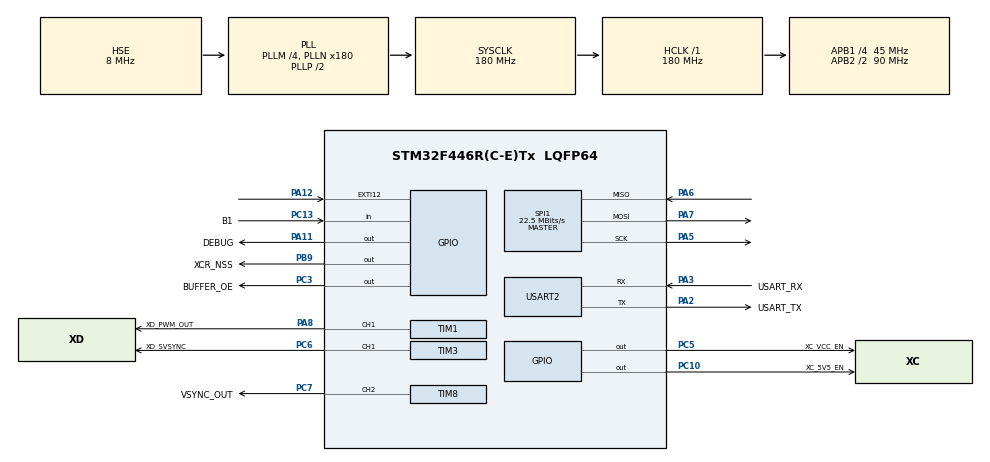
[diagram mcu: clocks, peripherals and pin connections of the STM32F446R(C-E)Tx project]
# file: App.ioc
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Dma.Request0=TIM1_CH1
Dma.Request1=SPI1_TX
Dma.SPI1_TX.1.Direction=DMA_MEMORY_TO_PERIPH
Dma.SPI1_TX.1.FIFOMode=DMA_FIFOMODE_DISABLE
Dma.SPI1_TX.1.Instance=DMA2_Stream3
Dma.SPI1_TX.1.MemDataAlignment=DMA_MDATAALIGN_HALFWORD
Dma.SPI1_TX.1.MemInc=DMA_MINC_ENABLE
Dma.SPI1_TX.1.Mode=DMA_NORMAL
Dma.SPI1_TX.1.PeriphDataAlignment=DMA_PDATAALIGN_HALFWORD
Dma.SPI1_TX.1.PeriphInc=DMA_PINC_DISABLE
Dma.SPI1_TX.1.Priority=DMA_PRIORITY_LOW
Dma.TIM1_CH1.0.Direction=DMA_MEMORY_TO_PERIPH
Dma.TIM1_CH1.0.FIFOMode=DMA_FIFOMODE_DISABLE
Dma.TIM1_CH1.0.Instance=DMA2_Stream1
Dma.TIM1_CH1.0.MemDataAlignment=DMA_MDATAALIGN_HALFWORD
Dma.TIM1_CH1.0.MemInc=DMA_MINC_ENABLE
Dma.TIM1_CH1.0.Mode=DMA_NORMAL
Dma.TIM1_CH1.0.PeriphDataAlignment=DMA_PDATAALIGN_HALFWORD
Dma.TIM1_CH1.0.PeriphInc=DMA_PINC_DISABLE
Dma.TIM1_CH1.0.Priority=DMA_PRIORITY_LOW
Mcu.Family=STM32F4
Mcu.Name=STM32F446R(C-E)Tx
Mcu.Package=LQFP64
NVIC.DMA2_Stream1_IRQn=true\:0\:0\:false\:false\:true\:false\:true\:true
NVIC.DMA2_Stream3_IRQn=true\:0\:0\:false\:false\:true\:false\:true\:true
NVIC.EXTI15_10_IRQn=true\:0\:0\:false\:false\:true\:true\:true\:true
NVIC.PriorityGroup=NVIC_PRIORITYGROUP_4
NVIC.TIM3_IRQn=true\:1\:0\:true\:false\:true\:true\:true\:true
NVIC.TIM8_BRK_TIM12_IRQn=true\:2\:0\:true\:false\:true\:true\:true\:true
NVIC.TIM8_UP_TIM13_IRQn=true\:1\:0\:true\:false\:true\:true\:true\:true
NVIC.USART2_IRQn=true\:3\:0\:true\:false\:true\:true\:true\:true
PA11.GPIO_Label=DEBUG
PA11.Signal=GPIO_Output
PA12.Signal=GPXTI12
PA13.GPIO_Label=TMS
PA13.Mode=Serial_Wire
PA13.Signal=SYS_JTMS-SWDIO
PA14.GPIO_Label=TCK
PA14.Mode=Serial_Wire
PA14.Signal=SYS_JTCK-SWCLK
PA2.GPIO_Label=USART_TX
PA2.GPIO_PuPd=GPIO_PULLUP
PA2.Mode=Asynchronous
PA2.Signal=USART2_TX
PA3.GPIO_Label=USART_RX
PA3.GPIO_PuPd=GPIO_PULLUP
PA3.Mode=Asynchronous
PA3.Signal=USART2_RX
PA5.Mode=Full_Duplex_Master
PA5.Signal=SPI1_SCK
PA6.Mode=Full_Duplex_Master
PA6.Signal=SPI1_MISO
PA7.Mode=Full_Duplex_Master
PA7.Signal=SPI1_MOSI
PA8.GPIO_Label=XD_PWM_OUT
PA8.GPIO_Speed=GPIO_SPEED_FREQ_VERY_HIGH
PA8.Signal=S_TIM1_CH1
PB9.GPIO_Label=XCR_NSS
PB9.Signal=GPIO_Output
PC10.GPIO_Label=XC_5V5_EN
PC10.Signal=GPIO_Output
PC13.GPIO_Label=B1
PC13.GPIO_PuPd=GPIO_PULLUP
PC13.Signal=GPIO_Input
PC14-OSC32_IN.Mode=LSE-External-Oscillator
PC14-OSC32_IN.Signal=RCC_OSC32_IN
PC15-OSC32_OUT.Mode=LSE-External-Oscillator
PC15-OSC32_OUT.Signal=RCC_OSC32_OUT
PC3.GPIO_Label=BUFFER_OE
PC3.PinState=GPIO_PIN_SET
PC3.Signal=GPIO_Output
PC5.GPIO_Label=XC_VCC_EN
PC5.PinState=GPIO_PIN_SET
PC5.Signal=GPIO_Output
PC6.GPIO_Label=XD_SVSYNC
PC6.Signal=S_TIM3_CH1
PC7.GPIO_Label=VSYNC_OUT
PC7.Signal=S_TIM8_CH2
PH0-OSC_IN.Mode=HSE-External-Oscillator
PH0-OSC_IN.Signal=RCC_OSC_IN
PH1-OSC_OUT.Mode=HSE-External-Oscillator
PH1-OSC_OUT.Signal=RCC_OSC_OUT
ProjectManager.HeapSize=0x280
ProjectManager.StackSize=0x800
ProjectManager.TargetToolchain=EWARM V8.50
RCC.48MHZClocksFreq_Value=84000000
RCC.AHBFreq_Value=180000000
RCC.APB1CLKDivider=RCC_HCLK_DIV4
RCC.APB1Freq_Value=45000000
RCC.APB1TimFreq_Value=90000000
RCC.APB2CLKDivider=RCC_HCLK_DIV2
RCC.APB2Freq_Value=90000000
RCC.APB2TimFreq_Value=180000000
RCC.CortexFreq_Value=180000000
RCC.FLatency-AdvancedSettings=FLASH_LATENCY_5
RCC.HCLKFreq_Value=180000000
RCC.HSE_VALUE=8000000
RCC.HSI_VALUE=16000000
RCC.PLLI2SM=8
RCC.PLLI2SN=420
RCC.PLLI2SR=4
RCC.PLLM=4
RCC.PLLN=180
RCC.PLLSourceVirtual=RCC_PLLSOURCE_HSE
RCC.RCC_MCO2Source=RCC_MCO2SOURCE_PLLI2SCLK
RCC.RCC_MCODiv2=RCC_MCODIV_3
RCC.SYSCLKFreq_VALUE=180000000
RCC.SYSCLKSource=RCC_SYSCLKSOURCE_PLLCLK
RCC.USBFreq_Value=180000000
RCC.VCOOutputFreq_Value=360000000
SH.S_TIM1_CH1.0=TIM1_CH1,PWM Generation1 CH1
SH.S_TIM3_CH1.0=TIM3_CH1,PWM Generation1 CH1
SH.S_TIM8_CH2.0=TIM8_CH2,PWM Generation2 CH2
SPI1.BaudRatePrescaler=SPI_BAUDRATEPRESCALER_4
SPI1.CLKPhase=SPI_PHASE_2EDGE
SPI1.CalculateBaudRate=22.5 MBits/s
SPI1.DataSize=SPI_DATASIZE_16BIT
SPI1.Direction=SPI_DIRECTION_2LINES
SPI1.Mode=SPI_MODE_MASTER
SPI1.VirtualType=VM_MASTER
TIM1.AutomaticOutput=TIM_AUTOMATICOUTPUT_ENABLE
TIM1.Channel-PWM\ Generation1\ CH1=TIM_CHANNEL_1
TIM1.Period=179
TIM12.Prescaler=89
TIM3.Channel-PWM\ Generation1\ CH1=TIM_CHANNEL_1
TIM3.OC1Preload_PWM=DISABLE
TIM3.Period=719
TIM4.Period=59999
TIM4.Prescaler=14
TIM8.AutoReloadPreload=TIM_AUTORELOAD_PRELOAD_ENABLE
TIM8.AutomaticOutput=TIM_AUTOMATICOUTPUT_ENABLE
TIM8.Channel-PWM\ Generation2\ CH2=TIM_CHANNEL_2
TIM8.Period=49999
TIM8.Prescaler=29
TIM8.TIM_MasterOutputTrigger=TIM_TRGO_UPDATE
TIM8.TIM_MasterSlaveMode=TIM_MASTERSLAVEMODE_ENABLE
USART2.VirtualMode=VM_ASYNC
VP_TIM12_VS_ClockSourceINT.Mode=Internal
VP_TIM1_VS_ClockSourceINT.Mode=Internal
VP_TIM2_VS_ClockSourceINT.Mode=Internal
VP_TIM3_VS_ClockSourceINT.Mode=Internal
VP_TIM4_VS_ClockSourceITR.Mode=TriggerSource_ITR3
VP_TIM5_VS_ClockSourceINT.Mode=Internal
VP_TIM8_VS_ClockSourceINT.Mode=Internal
board=NUCLEO-F446RE

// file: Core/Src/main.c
/* USER CODE BEGIN Header */
/**
  ******************************************************************************
  * @file           : main.c
  * @brief          : Main program body
  ******************************************************************************
  * @attention
  *
  * Copyright (c) 2026 STMicroelectronics.
  * All rights reserved.
  *
  * This software is licensed under terms that can be found in the LICENSE file
  * in the root directory of this software component.
  * If no LICENSE file comes with this software, it is provided AS-IS.
  *
  ******************************************************************************
  */
/* USER CODE END Header */
#include "main.h"

/* USER CODE BEGIN Includes */
#include <stdbool.h>
#include <string.h>

#include "drv_comm.h"
#include "drv_gpio.h"
#include "drv_xcr24.h"
#include "drv_xdr12.h"
#include "drv_timer.h"

#include "framework.h"
#include "comm_debugging.h"
#include "ldim_conversion.h"
/* USER CODE END Includes */

void SystemClock_Config(void);
static void MX_GPIO_Init(void);
static void MX_DMA_Init(void);
static void MX_USART2_UART_Init(void);
static void MX_TIM12_Init(void);
static void MX_TIM8_Init(void);
static void MX_TIM4_Init(void);
static void MX_TIM1_Init(void);
static void MX_TIM2_Init(void);
static void MX_TIM3_Init(void);
static void MX_TIM5_Init(void);
static void MX_SPI1_Init(void);
/* USER CODE BEGIN PFP */

extern void fw_run(void);

/* USER CODE END PFP */

/* USER CODE BEGIN 0 */
void sys_init(void)
{
    /* XD PWM_OUT */
    /* Set the Prescaler value */
    LL_TIM_SetPrescaler(TIM1, (uint32_t)TIM1_PRESCALER);
    /* Set the Autoreload value */
    LL_TIM_SetAutoReload(TIM1, (uint32_t)TIM1_PERIOD);

    XCR_NSS_LO();

    xcr24_init_param();
    xdr12_init_param();

    LL_TIM_DisableARRPreload(TIM3);
    LL_TIM_OC_DisablePreload(TIM3, LL_TIM_CHANNEL_CH1);

    LL_TIM_ClearFlag_UPDATE(TIM3);
    LL_TIM_ClearFlag_UPDATE(TIM8);
    LL_TIM_ClearFlag_UPDATE(TIM12);

    __enable_irq();

    comm_init();
    ldim_block_map_init();
    ldim_block_map_print();

    LL_mDelay(999U);
    gpio_set_xc_vdd_5v(VCC_ON_3V3);
    LL_mDelay(99U);
    xcr24_init();

    LL_mDelay(99U);
    xdr12_init();
    LL_mDelay(9U);

    ldim_set_block_color_buffer(LDIM_BLK_INDEX_ALL, 100U, 100U, 100U);
    tim_vsync_out_start();
}

void sys_normal_mode(void)
{
}

void _system_idle(void)
{
    tim_vsync_out_process();
    comm_debugging_process();
}

/* USER CODE END 0 */

int main(void)
{

  __disable_irq();

  /* MCU Configuration--------------------------------------------------------*/

  /* Reset of all peripherals, Initializes the Flash interface and the Systick. */
  HAL_Init();

  /* Configure the system clock */
  SystemClock_Config();

  /* Initialize all configured peripherals */
  MX_GPIO_Init();
  MX_DMA_Init();
  MX_USART2_UART_Init();
  MX_TIM12_Init();
  MX_TIM8_Init();
  MX_TIM4_Init();
  MX_TIM1_Init();
  MX_TIM2_Init();
  MX_TIM3_Init();
  MX_TIM5_Init();
  MX_SPI1_Init();
  /* USER CODE BEGIN 2 */

    fw_run();

  /* USER CODE END 2 */

  /* Infinite loop */
  /* USER CODE BEGIN WHILE */
  while (1)
  {
        //blu_process();

    /* USER CODE END WHILE */

  }
}

void SystemClock_Config(void)
{
  RCC_OscInitTypeDef RCC_OscInitStruct = {0};
  RCC_ClkInitTypeDef RCC_ClkInitStruct = {0};

  /** Configure the main internal regulator output voltage
  */
  __HAL_RCC_PWR_CLK_ENABLE();
  __HAL_PWR_VOLTAGESCALING_CONFIG(PWR_REGULATOR_VOLTAGE_SCALE1);

  /** Initializes the RCC Oscillators according to the specified parameters
  * in the RCC_OscInitTypeDef structure.
  */
  RCC_OscInitStruct.OscillatorType = RCC_OSCILLATORTYPE_HSE;
  RCC_OscInitStruct.HSEState = RCC_HSE_ON;
  RCC_OscInitStruct.PLL.PLLState = RCC_PLL_ON;
  RCC_OscInitStruct.PLL.PLLSource = RCC_PLLSOURCE_HSE;
  RCC_OscInitStruct.PLL.PLLM = 4;
  RCC_OscInitStruct.PLL.PLLN = 180;
  RCC_OscInitStruct.PLL.PLLP = RCC_PLLP_DIV2;
  RCC_OscInitStruct.PLL.PLLQ = 2;
  RCC_OscInitStruct.PLL.PLLR = 2;
  if (HAL_RCC_OscConfig(&RCC_OscInitStruct) != HAL_OK)
  {
    Error_Handler();
  }

  /** Activate the Over-Drive mode
  */
  if (HAL_PWREx_EnableOverDrive() != HAL_OK)
  {
    Error_Handler();
  }

  /** Initializes the CPU, AHB and APB buses clocks
  */
  RCC_ClkInitStruct.ClockType = RCC_CLOCKTYPE_HCLK|RCC_CLOCKTYPE_SYSCLK
                              |RCC_CLOCKTYPE_PCLK1|RCC_CLOCKTYPE_PCLK2;
  RCC_ClkInitStruct.SYSCLKSource = RCC_SYSCLKSOURCE_PLLCLK;
  RCC_ClkInitStruct.AHBCLKDivider = RCC_SYSCLK_DIV1;
  RCC_ClkInitStruct.APB1CLKDivider = RCC_HCLK_DIV4;
  RCC_ClkInitStruct.APB2CLKDivider = RCC_HCLK_DIV2;

  if (HAL_RCC_ClockConfig(&RCC_ClkInitStruct, FLASH_LATENCY_5) != HAL_OK)
  {
    Error_Handler();
  }
}

static void MX_SPI1_Init(void)
{

  LL_SPI_InitTypeDef SPI_InitStruct = {0};

  LL_GPIO_InitTypeDef GPIO_InitStruct = {0};

  /* Peripheral clock enable */
  LL_APB2_GRP1_EnableClock(LL_APB2_GRP1_PERIPH_SPI1);

  LL_AHB1_GRP1_EnableClock(LL_AHB1_GRP1_PERIPH_GPIOA);
  /**SPI1 GPIO Configuration
  PA5   ------> SPI1_SCK
  PA6   ------> SPI1_MISO
  PA7   ------> SPI1_MOSI
  */
  GPIO_InitStruct.Pin = LL_GPIO_PIN_5|LL_GPIO_PIN_6|LL_GPIO_PIN_7;
  GPIO_InitStruct.Mode = LL_GPIO_MODE_ALTERNATE;
  GPIO_InitStruct.Speed = LL_GPIO_SPEED_FREQ_VERY_HIGH;
  GPIO_InitStruct.OutputType = LL_GPIO_OUTPUT_PUSHPULL;
  GPIO_InitStruct.Pull = LL_GPIO_PULL_NO;
  GPIO_InitStruct.Alternate = LL_GPIO_AF_5;
  LL_GPIO_Init(GPIOA, &GPIO_InitStruct);

  /* SPI1 DMA Init */

  /* SPI1_TX Init */
  LL_DMA_SetChannelSelection(DMA2, LL_DMA_STREAM_3, LL_DMA_CHANNEL_3);

  LL_DMA_SetDataTransferDirection(DMA2, LL_DMA_STREAM_3, LL_DMA_DIRECTION_MEMORY_TO_PERIPH);

  LL_DMA_SetStreamPriorityLevel(DMA2, LL_DMA_STREAM_3, LL_DMA_PRIORITY_LOW);

  LL_DMA_SetMode(DMA2, LL_DMA_STREAM_3, LL_DMA_MODE_NORMAL);

  LL_DMA_SetPeriphIncMode(DMA2, LL_DMA_STREAM_3, LL_DMA_PERIPH_NOINCREMENT);

  LL_DMA_SetMemoryIncMode(DMA2, LL_DMA_STREAM_3, LL_DMA_MEMORY_INCREMENT);

  LL_DMA_SetPeriphSize(DMA2, LL_DMA_STREAM_3, LL_DMA_PDATAALIGN_HALFWORD);

  LL_DMA_SetMemorySize(DMA2, LL_DMA_STREAM_3, LL_DMA_MDATAALIGN_HALFWORD);

  LL_DMA_DisableFifoMode(DMA2, LL_DMA_STREAM_3);

  /* USER CODE BEGIN SPI1_Init 1 */

    LL_DMA_SetPeriphAddress(DMA2, LL_DMA_STREAM_3, (uint32_t)(&(SPI1->DR)));
    LL_DMA_EnableIT_TC(DMA2, LL_DMA_STREAM_3);

  /* USER CODE END SPI1_Init 1 */
  /* SPI1 parameter configuration*/
  SPI_InitStruct.TransferDirection = LL_SPI_FULL_DUPLEX;
  SPI_InitStruct.Mode = LL_SPI_MODE_MASTER;
  SPI_InitStruct.DataWidth = LL_SPI_DATAWIDTH_16BIT;
  SPI_InitStruct.ClockPolarity = LL_SPI_POLARITY_LOW;
  SPI_InitStruct.ClockPhase = LL_SPI_PHASE_2EDGE;
  SPI_InitStruct.NSS = LL_SPI_NSS_SOFT;
  SPI_InitStruct.BaudRate = LL_SPI_BAUDRATEPRESCALER_DIV4;
  SPI_InitStruct.BitOrder = LL_SPI_MSB_FIRST;
  SPI_InitStruct.CRCCalculation = LL_SPI_CRCCALCULATION_DISABLE;
  SPI_InitStruct.CRCPoly = 10;
  LL_SPI_Init(SPI1, &SPI_InitStruct);
  LL_SPI_SetStandard(SPI1, LL_SPI_PROTOCOL_MOTOROLA);
  /* USER CODE BEGIN SPI1_Init 2 */

    LL_SPI_EnableDMAReq_TX(SPI1);
    LL_SPI_Enable(SPI1);

  /* USER CODE END SPI1_Init 2 */

}

static void MX_TIM1_Init(void)
{

  LL_TIM_InitTypeDef TIM_InitStruct = {0};
  LL_TIM_OC_InitTypeDef TIM_OC_InitStruct = {0};
  LL_TIM_BDTR_InitTypeDef TIM_BDTRInitStruct = {0};

  LL_GPIO_InitTypeDef GPIO_InitStruct = {0};

  /* Peripheral clock enable */
  LL_APB2_GRP1_EnableClock(LL_APB2_GRP1_PERIPH_TIM1);

  /* TIM1 DMA Init */

  /* TIM1_CH1 Init */
  LL_DMA_SetChannelSelection(DMA2, LL_DMA_STREAM_1, LL_DMA_CHANNEL_6);

  LL_DMA_SetDataTransferDirection(DMA2, LL_DMA_STREAM_1, LL_DMA_DIRECTION_MEMORY_TO_PERIPH);

  LL_DMA_SetStreamPriorityLevel(DMA2, LL_DMA_STREAM_1, LL_DMA_PRIORITY_LOW);

  LL_DMA_SetMode(DMA2, LL_DMA_STREAM_1, LL_DMA_MODE_NORMAL);

  LL_DMA_SetPeriphIncMode(DMA2, LL_DMA_STREAM_1, LL_DMA_PERIPH_NOINCREMENT);

  LL_DMA_SetMemoryIncMode(DMA2, LL_DMA_STREAM_1, LL_DMA_MEMORY_INCREMENT);

  LL_DMA_SetPeriphSize(DMA2, LL_DMA_STREAM_1, LL_DMA_PDATAALIGN_HALFWORD);

  LL_DMA_SetMemorySize(DMA2, LL_DMA_STREAM_1, LL_DMA_MDATAALIGN_HALFWORD);

  LL_DMA_DisableFifoMode(DMA2, LL_DMA_STREAM_1);

  /* USER CODE BEGIN TIM1_Init 1 */

    LL_DMA_SetPeriphAddress(DMA2, LL_DMA_STREAM_1, (uint32_t)(&(TIM1->CCR1)));
    LL_DMA_EnableIT_TC(DMA2, LL_DMA_STREAM_1);

  /* USER CODE END TIM1_Init 1 */
  TIM_InitStruct.Prescaler = 0;
  TIM_InitStruct.CounterMode = LL_TIM_COUNTERMODE_UP;
  TIM_InitStruct.Autoreload = 179;
  TIM_InitStruct.ClockDivision = LL_TIM_CLOCKDIVISION_DIV1;
  TIM_InitStruct.RepetitionCounter = 0;
  LL_TIM_Init(TIM1, &TIM_InitStruct);
  LL_TIM_DisableARRPreload(TIM1);
  LL_TIM_SetClockSource(TIM1, LL_TIM_CLOCKSOURCE_INTERNAL);
  LL_TIM_OC_EnablePreload(TIM1, LL_TIM_CHANNEL_CH1);
  TIM_OC_InitStruct.OCMode = LL_TIM_OCMODE_PWM1;
  TIM_OC_InitStruct.OCState = LL_TIM_OCSTATE_DISABLE;
  TIM_OC_InitStruct.OCNState = LL_TIM_OCSTATE_DISABLE;
  TIM_OC_InitStruct.CompareValue = 0;
  TIM_OC_InitStruct.OCPolarity = LL_TIM_OCPOLARITY_HIGH;
  TIM_OC_InitStruct.OCNPolarity = LL_TIM_OCPOLARITY_HIGH;
  TIM_OC_InitStruct.OCIdleState = LL_TIM_OCIDLESTATE_LOW;
  TIM_OC_InitStruct.OCNIdleState = LL_TIM_OCIDLESTATE_LOW;
  LL_TIM_OC_Init(TIM1, LL_TIM_CHANNEL_CH1, &TIM_OC_InitStruct);
  LL_TIM_OC_DisableFast(TIM1, LL_TIM_CHANNEL_CH1);
  LL_TIM_SetTriggerOutput(TIM1, LL_TIM_TRGO_RESET);
  LL_TIM_DisableMasterSlaveMode(TIM1);
  TIM_BDTRInitStruct.OSSRState = LL_TIM_OSSR_DISABLE;
  TIM_BDTRInitStruct.OSSIState = LL_TIM_OSSI_DISABLE;
  TIM_BDTRInitStruct.LockLevel = LL_TIM_LOCKLEVEL_OFF;
  TIM_BDTRInitStruct.DeadTime = 0;
  TIM_BDTRInitStruct.BreakState = LL_TIM_BREAK_DISABLE;
  TIM_BDTRInitStruct.BreakPolarity = LL_TIM_BREAK_POLARITY_HIGH;
  TIM_BDTRInitStruct.AutomaticOutput = LL_TIM_AUTOMATICOUTPUT_ENABLE;
  LL_TIM_BDTR_Init(TIM1, &TIM_BDTRInitStruct);
  /* USER CODE BEGIN TIM1_Init 2 */

  LL_TIM_CC_EnableChannel(TIM1, LL_TIM_CHANNEL_CH1);
  LL_TIM_EnableDMAReq_CC1(TIM1);

  /* USER CODE END TIM1_Init 2 */
  LL_AHB1_GRP1_EnableClock(LL_AHB1_GRP1_PERIPH_GPIOA);
  /**TIM1 GPIO Configuration
  PA8   ------> TIM1_CH1
  */
  GPIO_InitStruct.Pin = XD_PWM_OUT_Pin;
  GPIO_InitStruct.Mode = LL_GPIO_MODE_ALTERNATE;
  GPIO_InitStruct.Speed = LL_GPIO_SPEED_FREQ_VERY_HIGH;
  GPIO_InitStruct.OutputType = LL_GPIO_OUTPUT_PUSHPULL;
  GPIO_InitStruct.Pull = LL_GPIO_PULL_NO;
  GPIO_InitStruct.Alternate = LL_GPIO_AF_1;
  LL_GPIO_Init(XD_PWM_OUT_GPIO_Port, &GPIO_InitStruct);

}

static void MX_TIM2_Init(void)
{

  LL_TIM_InitTypeDef TIM_InitStruct = {0};

  /* Peripheral clock enable */
  LL_APB1_GRP1_EnableClock(LL_APB1_GRP1_PERIPH_TIM2);

  /* USER CODE BEGIN TIM2_Init 1 */
    LL_DMA_SetChannelSelection(DMA1, LL_DMA_STREAM_5, LL_DMA_CHANNEL_3);
    LL_DMA_SetDataTransferDirection(DMA1, LL_DMA_STREAM_5, LL_DMA_DIRECTION_PERIPH_TO_MEMORY);
    LL_DMA_SetStreamPriorityLevel(DMA1, LL_DMA_STREAM_5, LL_DMA_PRIORITY_LOW);
    LL_DMA_SetMode(DMA1, LL_DMA_STREAM_5, LL_DMA_MODE_NORMAL);
    LL_DMA_SetPeriphIncMode(DMA1, LL_DMA_STREAM_5, LL_DMA_PERIPH_NOINCREMENT);
    LL_DMA_SetMemoryIncMode(DMA1, LL_DMA_STREAM_5, LL_DMA_MEMORY_INCREMENT);
    LL_DMA_SetPeriphSize(DMA1, LL_DMA_STREAM_5, LL_DMA_PDATAALIGN_HALFWORD);
    LL_DMA_SetMemorySize(DMA1, LL_DMA_STREAM_5, LL_DMA_MDATAALIGN_HALFWORD);
    LL_DMA_DisableFifoMode(DMA1, LL_DMA_STREAM_5);

    LL_DMA_SetPeriphAddress(DMA1, LL_DMA_STREAM_5, (uint32_t)(&(TIM2->CCR1)));   /* falling edge - pwm duty */
    LL_DMA_SetPeriphAddress(DMA1, LL_DMA_STREAM_6, (uint32_t)(&(TIM2->CCR2)));   /* rising edge - pwm frequency */

  /* USER CODE END TIM2_Init 1 */
  TIM_InitStruct.Prescaler = 0;
  TIM_InitStruct.CounterMode = LL_TIM_COUNTERMODE_UP;
  TIM_InitStruct.Autoreload = 4294967295;
  TIM_InitStruct.ClockDivision = LL_TIM_CLOCKDIVISION_DIV1;
  LL_TIM_Init(TIM2, &TIM_InitStruct);
  LL_TIM_DisableARRPreload(TIM2);
  LL_TIM_SetClockSource(TIM2, LL_TIM_CLOCKSOURCE_INTERNAL);
  LL_TIM_SetTriggerOutput(TIM2, LL_TIM_TRGO_RESET);
  LL_TIM_DisableMasterSlaveMode(TIM2);
  /* USER CODE BEGIN TIM2_Init 2 */

    LL_TIM_EnableDMAReq_CC1(TIM2);
    LL_TIM_EnableDMAReq_CC2(TIM2);

    LL_DMA_EnableIT_TC(DMA1, LL_DMA_STREAM_5);
    LL_DMA_EnableIT_TC(DMA1, LL_DMA_STREAM_6);

    /* DMA1_Stream5_IRQn interrupt configuration */
    NVIC_SetPriority(DMA1_Stream5_IRQn, NVIC_EncodePriority(NVIC_GetPriorityGrouping(),1, 0));
    NVIC_EnableIRQ(DMA1_Stream5_IRQn);

  /* USER CODE END TIM2_Init 2 */

}

static void MX_TIM3_Init(void)
{

  LL_TIM_InitTypeDef TIM_InitStruct = {0};
  LL_TIM_OC_InitTypeDef TIM_OC_InitStruct = {0};

  LL_GPIO_InitTypeDef GPIO_InitStruct = {0};

  /* Peripheral clock enable */
  LL_APB1_GRP1_EnableClock(LL_APB1_GRP1_PERIPH_TIM3);

  /* TIM3 interrupt Init */
  NVIC_SetPriority(TIM3_IRQn, NVIC_EncodePriority(NVIC_GetPriorityGrouping(),1, 0));
  NVIC_EnableIRQ(TIM3_IRQn);

  TIM_InitStruct.Prescaler = 0;
  TIM_InitStruct.CounterMode = LL_TIM_COUNTERMODE_UP;
  TIM_InitStruct.Autoreload = 719;
  TIM_InitStruct.ClockDivision = LL_TIM_CLOCKDIVISION_DIV1;
  LL_TIM_Init(TIM3, &TIM_InitStruct);
  LL_TIM_DisableARRPreload(TIM3);
  LL_TIM_SetClockSource(TIM3, LL_TIM_CLOCKSOURCE_INTERNAL);
  LL_TIM_OC_EnablePreload(TIM3, LL_TIM_CHANNEL_CH1);
  TIM_OC_InitStruct.OCMode = LL_TIM_OCMODE_PWM1;
  TIM_OC_InitStruct.OCState = LL_TIM_OCSTATE_DISABLE;
  TIM_OC_InitStruct.OCNState = LL_TIM_OCSTATE_DISABLE;
  TIM_OC_InitStruct.CompareValue = 0;
  TIM_OC_InitStruct.OCPolarity = LL_TIM_OCPOLARITY_HIGH;
  LL_TIM_OC_Init(TIM3, LL_TIM_CHANNEL_CH1, &TIM_OC_InitStruct);
  LL_TIM_OC_DisableFast(TIM3, LL_TIM_CHANNEL_CH1);
  LL_TIM_SetTriggerOutput(TIM3, LL_TIM_TRGO_RESET);
  LL_TIM_DisableMasterSlaveMode(TIM3);
  LL_TIM_OC_DisablePreload(TIM3, LL_TIM_CHANNEL_CH1);
  /* USER CODE BEGIN TIM3_Init 2 */

    LL_TIM_CC_EnableChannel(TIM3, LL_TIM_CHANNEL_CH1);
    LL_TIM_EnableIT_UPDATE(TIM3);

  /* USER CODE END TIM3_Init 2 */
  LL_AHB1_GRP1_EnableClock(LL_AHB1_GRP1_PERIPH_GPIOC);
  /**TIM3 GPIO Configuration
  PC6   ------> TIM3_CH1
  */
  GPIO_InitStruct.Pin = XD_SVSYNC_Pin;
  GPIO_InitStruct.Mode = LL_GPIO_MODE_ALTERNATE;
  GPIO_InitStruct.Speed = LL_GPIO_SPEED_FREQ_LOW;
  GPIO_InitStruct.OutputType = LL_GPIO_OUTPUT_PUSHPULL;
  GPIO_InitStruct.Pull = LL_GPIO_PULL_NO;
  GPIO_InitStruct.Alternate = LL_GPIO_AF_2;
  LL_GPIO_Init(XD_SVSYNC_GPIO_Port, &GPIO_InitStruct);

}

static void MX_TIM4_Init(void)
{

  LL_TIM_InitTypeDef TIM_InitStruct = {0};

  /* Peripheral clock enable */
  LL_APB1_GRP1_EnableClock(LL_APB1_GRP1_PERIPH_TIM4);

  TIM_InitStruct.Prescaler = 14;
  TIM_InitStruct.CounterMode = LL_TIM_COUNTERMODE_UP;
  TIM_InitStruct.Autoreload = 59999;
  TIM_InitStruct.ClockDivision = LL_TIM_CLOCKDIVISION_DIV1;
  LL_TIM_Init(TIM4, &TIM_InitStruct);
  LL_TIM_DisableARRPreload(TIM4);
  LL_TIM_SetTriggerInput(TIM4, LL_TIM_TS_ITR3);
  LL_TIM_SetSlaveMode(TIM4, LL_TIM_SLAVEMODE_DISABLED);
  LL_TIM_DisableIT_TRIG(TIM4);
  LL_TIM_DisableDMAReq_TRIG(TIM4);
  LL_TIM_SetTriggerOutput(TIM4, LL_TIM_TRGO_RESET);
  LL_TIM_DisableMasterSlaveMode(TIM4);

}

static void MX_TIM5_Init(void)
{

  LL_TIM_InitTypeDef TIM_InitStruct = {0};

  /* Peripheral clock enable */
  LL_APB1_GRP1_EnableClock(LL_APB1_GRP1_PERIPH_TIM5);

  TIM_InitStruct.Prescaler = 0;
  TIM_InitStruct.CounterMode = LL_TIM_COUNTERMODE_UP;
  TIM_InitStruct.Autoreload = 4294967295;
  TIM_InitStruct.ClockDivision = LL_TIM_CLOCKDIVISION_DIV1;
  LL_TIM_Init(TIM5, &TIM_InitStruct);
  LL_TIM_DisableARRPreload(TIM5);
  LL_TIM_SetClockSource(TIM5, LL_TIM_CLOCKSOURCE_INTERNAL);
  LL_TIM_SetTriggerOutput(TIM5, LL_TIM_TRGO_RESET);
  LL_TIM_DisableMasterSlaveMode(TIM5);
  /* USER CODE BEGIN TIM5_Init 2 */

    LL_TIM_EnableDMAReq_CC1(TIM5);
    LL_TIM_CC_EnableChannel(TIM5, LL_TIM_CHANNEL_CH1);

    LL_DMA_EnableIT_TC(DMA1, LL_DMA_STREAM_2);
    //LL_DMA_EnableIT_TE(DMA1, LL_DMA_STREAM_2);
  /* USER CODE END TIM5_Init 2 */

}

static void MX_TIM8_Init(void)
{

  LL_TIM_InitTypeDef TIM_InitStruct = {0};
  LL_TIM_OC_InitTypeDef TIM_OC_InitStruct = {0};
  LL_TIM_BDTR_InitTypeDef TIM_BDTRInitStruct = {0};

  LL_GPIO_InitTypeDef GPIO_InitStruct = {0};

  /* Peripheral clock enable */
  LL_APB2_GRP1_EnableClock(LL_APB2_GRP1_PERIPH_TIM8);

  /* TIM8 interrupt Init */
  NVIC_SetPriority(TIM8_BRK_TIM12_IRQn, NVIC_EncodePriority(NVIC_GetPriorityGrouping(),2, 0));
  NVIC_EnableIRQ(TIM8_BRK_TIM12_IRQn);
  NVIC_SetPriority(TIM8_UP_TIM13_IRQn, NVIC_EncodePriority(NVIC_GetPriorityGrouping(),1, 0));
  NVIC_EnableIRQ(TIM8_UP_TIM13_IRQn);

  TIM_InitStruct.Prescaler = 29;
  TIM_InitStruct.CounterMode = LL_TIM_COUNTERMODE_UP;
  TIM_InitStruct.Autoreload = 49999;
  TIM_InitStruct.ClockDivision = LL_TIM_CLOCKDIVISION_DIV1;
  TIM_InitStruct.RepetitionCounter = 0;
  LL_TIM_Init(TIM8, &TIM_InitStruct);
  LL_TIM_EnableARRPreload(TIM8);
  LL_TIM_SetClockSource(TIM8, LL_TIM_CLOCKSOURCE_INTERNAL);
  LL_TIM_OC_EnablePreload(TIM8, LL_TIM_CHANNEL_CH2);
  TIM_OC_InitStruct.OCMode = LL_TIM_OCMODE_PWM1;
  TIM_OC_InitStruct.OCState = LL_TIM_OCSTATE_DISABLE;
  TIM_OC_InitStruct.OCNState = LL_TIM_OCSTATE_DISABLE;
  TIM_OC_InitStruct.CompareValue = 0;
  TIM_OC_InitStruct.OCPolarity = LL_TIM_OCPOLARITY_HIGH;
  TIM_OC_InitStruct.OCNPolarity = LL_TIM_OCPOLARITY_HIGH;
  TIM_OC_InitStruct.OCIdleState = LL_TIM_OCIDLESTATE_LOW;
  TIM_OC_InitStruct.OCNIdleState = LL_TIM_OCIDLESTATE_LOW;
  LL_TIM_OC_Init(TIM8, LL_TIM_CHANNEL_CH2, &TIM_OC_InitStruct);
  LL_TIM_OC_DisableFast(TIM8, LL_TIM_CHANNEL_CH2);
  LL_TIM_SetTriggerOutput(TIM8, LL_TIM_TRGO_UPDATE);
  LL_TIM_EnableMasterSlaveMode(TIM8);
  TIM_BDTRInitStruct.OSSRState = LL_TIM_OSSR_DISABLE;
  TIM_BDTRInitStruct.OSSIState = LL_TIM_OSSI_DISABLE;
  TIM_BDTRInitStruct.LockLevel = LL_TIM_LOCKLEVEL_OFF;
  TIM_BDTRInitStruct.DeadTime = 0;
  TIM_BDTRInitStruct.BreakState = LL_TIM_BREAK_DISABLE;
  TIM_BDTRInitStruct.BreakPolarity = LL_TIM_BREAK_POLARITY_HIGH;
  TIM_BDTRInitStruct.AutomaticOutput = LL_TIM_AUTOMATICOUTPUT_ENABLE;
  LL_TIM_BDTR_Init(TIM8, &TIM_BDTRInitStruct);
  /* USER CODE BEGIN TIM8_Init 2 */

    LL_TIM_CC_EnableChannel(TIM8, LL_TIM_CHANNEL_CH2);
    LL_TIM_EnableIT_UPDATE(TIM8);

  /* USER CODE END TIM8_Init 2 */
  LL_AHB1_GRP1_EnableClock(LL_AHB1_GRP1_PERIPH_GPIOC);
  /**TIM8 GPIO Configuration
  PC7   ------> TIM8_CH2
  */
  GPIO_InitStruct.Pin = VSYNC_OUT_Pin;
  GPIO_InitStruct.Mode = LL_GPIO_MODE_ALTERNATE;
  GPIO_InitStruct.Speed = LL_GPIO_SPEED_FREQ_LOW;
  GPIO_InitStruct.OutputType = LL_GPIO_OUTPUT_PUSHPULL;
  GPIO_InitStruct.Pull = LL_GPIO_PULL_NO;
  GPIO_InitStruct.Alternate = LL_GPIO_AF_3;
  LL_GPIO_Init(VSYNC_OUT_GPIO_Port, &GPIO_InitStruct);

}

static void MX_TIM12_Init(void)
{

  LL_TIM_InitTypeDef TIM_InitStruct = {0};

  /* Peripheral clock enable */
  LL_APB1_GRP1_EnableClock(LL_APB1_GRP1_PERIPH_TIM12);

  /* TIM12 interrupt Init */
  NVIC_SetPriority(TIM8_BRK_TIM12_IRQn, NVIC_EncodePriority(NVIC_GetPriorityGrouping(),2, 0));
  NVIC_EnableIRQ(TIM8_BRK_TIM12_IRQn);

  TIM_InitStruct.Prescaler = 89;
  TIM_InitStruct.CounterMode = LL_TIM_COUNTERMODE_UP;
  TIM_InitStruct.Autoreload = 65535;
  TIM_InitStruct.ClockDivision = LL_TIM_CLOCKDIVISION_DIV1;
  LL_TIM_Init(TIM12, &TIM_InitStruct);
  LL_TIM_DisableARRPreload(TIM12);
  LL_TIM_SetClockSource(TIM12, LL_TIM_CLOCKSOURCE_INTERNAL);

}

static void MX_USART2_UART_Init(void)
{

  LL_USART_InitTypeDef USART_InitStruct = {0};

  LL_GPIO_InitTypeDef GPIO_InitStruct = {0};

  /* Peripheral clock enable */
  LL_APB1_GRP1_EnableClock(LL_APB1_GRP1_PERIPH_USART2);

  LL_AHB1_GRP1_EnableClock(LL_AHB1_GRP1_PERIPH_GPIOA);
  /**USART2 GPIO Configuration
  PA2   ------> USART2_TX
  PA3   ------> USART2_RX
  */
  GPIO_InitStruct.Pin = USART_TX_Pin|USART_RX_Pin;
  GPIO_InitStruct.Mode = LL_GPIO_MODE_ALTERNATE;
  GPIO_InitStruct.Speed = LL_GPIO_SPEED_FREQ_VERY_HIGH;
  GPIO_InitStruct.OutputType = LL_GPIO_OUTPUT_PUSHPULL;
  GPIO_InitStruct.Pull = LL_GPIO_PULL_UP;
  GPIO_InitStruct.Alternate = LL_GPIO_AF_7;
  LL_GPIO_Init(GPIOA, &GPIO_InitStruct);

  /* USART2 interrupt Init */
  NVIC_SetPriority(USART2_IRQn, NVIC_EncodePriority(NVIC_GetPriorityGrouping(),3, 0));
  NVIC_EnableIRQ(USART2_IRQn);

  USART_InitStruct.BaudRate = 115200;
  USART_InitStruct.DataWidth = LL_USART_DATAWIDTH_8B;
  USART_InitStruct.StopBits = LL_USART_STOPBITS_1;
  USART_InitStruct.Parity = LL_USART_PARITY_NONE;
  USART_InitStruct.TransferDirection = LL_USART_DIRECTION_TX_RX;
  USART_InitStruct.HardwareFlowControl = LL_USART_HWCONTROL_NONE;
  USART_InitStruct.OverSampling = LL_USART_OVERSAMPLING_16;
  LL_USART_Init(USART2, &USART_InitStruct);
  LL_USART_ConfigAsyncMode(USART2);
  LL_USART_Enable(USART2);
  /* USER CODE BEGIN USART2_Init 2 */

    /* USART RX */
    LL_USART_EnableIT_RXNE(USART2);
    LL_USART_EnableIT_ERROR(USART2);

  /* USER CODE END USART2_Init 2 */

}

static void MX_DMA_Init(void)
{

  /* Init with LL driver */
  /* DMA controller clock enable */
  LL_AHB1_GRP1_EnableClock(LL_AHB1_GRP1_PERIPH_DMA2);

  /* DMA interrupt init */
  /* DMA2_Stream1_IRQn interrupt configuration */
  NVIC_SetPriority(DMA2_Stream1_IRQn, NVIC_EncodePriority(NVIC_GetPriorityGrouping(),0, 0));
  NVIC_EnableIRQ(DMA2_Stream1_IRQn);
  /* DMA2_Stream3_IRQn interrupt configuration */
  NVIC_SetPriority(DMA2_Stream3_IRQn, NVIC_EncodePriority(NVIC_GetPriorityGrouping(),0, 0));
  NVIC_EnableIRQ(DMA2_Stream3_IRQn);

}

static void MX_GPIO_Init(void)
{
  LL_EXTI_InitTypeDef EXTI_InitStruct = {0};
  LL_GPIO_InitTypeDef GPIO_InitStruct = {0};

  /* GPIO Ports Clock Enable */
  LL_AHB1_GRP1_EnableClock(LL_AHB1_GRP1_PERIPH_GPIOC);
  LL_AHB1_GRP1_EnableClock(LL_AHB1_GRP1_PERIPH_GPIOH);
  LL_AHB1_GRP1_EnableClock(LL_AHB1_GRP1_PERIPH_GPIOA);
  LL_AHB1_GRP1_EnableClock(LL_AHB1_GRP1_PERIPH_GPIOB);

  /**/
  LL_GPIO_SetOutputPin(GPIOC, BUFFER_OE_Pin|XC_VCC_EN_Pin);

  /**/
  LL_GPIO_ResetOutputPin(DEBUG_GPIO_Port, DEBUG_Pin);

  /**/
  LL_GPIO_ResetOutputPin(XC_5V5_EN_GPIO_Port, XC_5V5_EN_Pin);

  /**/
  LL_GPIO_ResetOutputPin(XCR_NSS_GPIO_Port, XCR_NSS_Pin);

  /**/
  GPIO_InitStruct.Pin = B1_Pin;
  GPIO_InitStruct.Mode = LL_GPIO_MODE_INPUT;
  GPIO_InitStruct.Pull = LL_GPIO_PULL_UP;
  LL_GPIO_Init(B1_GPIO_Port, &GPIO_InitStruct);

  /**/
  GPIO_InitStruct.Pin = BUFFER_OE_Pin|XC_VCC_EN_Pin|XC_5V5_EN_Pin;
  GPIO_InitStruct.Mode = LL_GPIO_MODE_OUTPUT;
  GPIO_InitStruct.Speed = LL_GPIO_SPEED_FREQ_LOW;
  GPIO_InitStruct.OutputType = LL_GPIO_OUTPUT_PUSHPULL;
  GPIO_InitStruct.Pull = LL_GPIO_PULL_NO;
  LL_GPIO_Init(GPIOC, &GPIO_InitStruct);

  /**/
  GPIO_InitStruct.Pin = DEBUG_Pin;
  GPIO_InitStruct.Mode = LL_GPIO_MODE_OUTPUT;
  GPIO_InitStruct.Speed = LL_GPIO_SPEED_FREQ_LOW;
  GPIO_InitStruct.OutputType = LL_GPIO_OUTPUT_PUSHPULL;
  GPIO_InitStruct.Pull = LL_GPIO_PULL_NO;
  LL_GPIO_Init(DEBUG_GPIO_Port, &GPIO_InitStruct);

  /**/
  GPIO_InitStruct.Pin = XCR_NSS_Pin;
  GPIO_InitStruct.Mode = LL_GPIO_MODE_OUTPUT;
  GPIO_InitStruct.Speed = LL_GPIO_SPEED_FREQ_LOW;
  GPIO_InitStruct.OutputType = LL_GPIO_OUTPUT_PUSHPULL;
  GPIO_InitStruct.Pull = LL_GPIO_PULL_NO;
  LL_GPIO_Init(XCR_NSS_GPIO_Port, &GPIO_InitStruct);

  /**/
  LL_SYSCFG_SetEXTISource(LL_SYSCFG_EXTI_PORTA, LL_SYSCFG_EXTI_LINE12);

  /**/
  EXTI_InitStruct.Line_0_31 = LL_EXTI_LINE_12;
  EXTI_InitStruct.LineCommand = ENABLE;
  EXTI_InitStruct.Mode = LL_EXTI_MODE_IT;
  EXTI_InitStruct.Trigger = LL_EXTI_TRIGGER_RISING;
  LL_EXTI_Init(&EXTI_InitStruct);

  /**/
  LL_GPIO_SetPinPull(GPIOA, LL_GPIO_PIN_12, LL_GPIO_PULL_NO);

  /**/
  LL_GPIO_SetPinMode(GPIOA, LL_GPIO_PIN_12, LL_GPIO_MODE_INPUT);

  /* EXTI interrupt init*/
  NVIC_SetPriority(EXTI15_10_IRQn, NVIC_EncodePriority(NVIC_GetPriorityGrouping(),0, 0));
  NVIC_EnableIRQ(EXTI15_10_IRQn);

}

void Error_Handler(void)
{
  __disable_irq();
  while (1)
  {
  }
}
